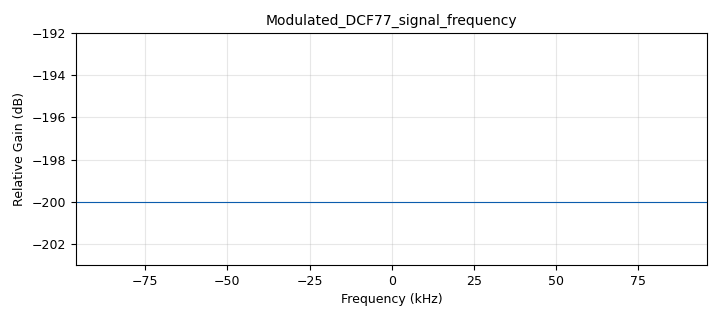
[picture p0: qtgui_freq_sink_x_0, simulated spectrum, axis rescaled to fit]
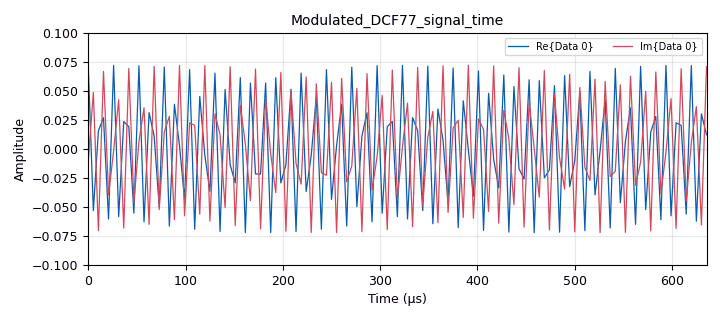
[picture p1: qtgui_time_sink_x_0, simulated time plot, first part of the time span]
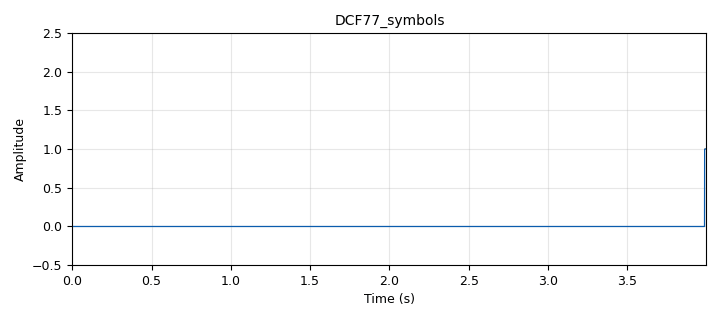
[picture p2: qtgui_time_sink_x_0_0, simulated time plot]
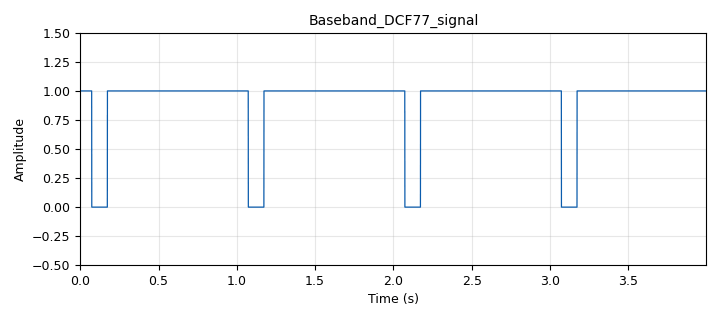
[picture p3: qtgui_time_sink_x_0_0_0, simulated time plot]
options:
  parameters:
    author: henningM1R
    generate_options: qt_gui
    id: DCF77_Transmitter
    output_language: python
    title: DCF77 Transmitter
  states: {}

blocks:
- name: freq_DCF77
  id: variable
  parameters:
    value: '77500'
  states: {}
- name: gain
  id: variable_qtgui_range
  parameters:
    gui_hint: (0,0)
    label: Gain
    start: '0.01'
    step: '0.01'
    stop: '3'
    value: '0.072'
  states: {}
- name: samp_rate
  id: variable
  parameters:
    value: int(192000)
  states: {}
- name: analog_const_source_x_0
  id: analog_const_source_x
  parameters:
    const: '0'
    type: float
  states: {}
- name: analog_sig_source_x_2
  id: analog_sig_source_x
  parameters:
    amp: '1'
    comment: |-
      modulation signal to shift the
      pass band signal to 77.5 kHz
    freq: freq_DCF77
    offset: '0'
    phase: '0'
    samp_rate: samp_rate
    type: complex
    waveform: analog.GR_COS_WAVE
  states: {}
- name: blocks_add_xx_0
  id: blocks_add_xx
  parameters:
    type: float
  states: {}
- name: blocks_char_to_float_0
  id: blocks_char_to_float
  parameters:
    comment: |-
      converts byte values
      to float value
    scale: '1'
  states: {}
- name: blocks_float_to_complex_0
  id: blocks_float_to_complex
  parameters: {}
  states: {}
- name: blocks_multiply_const_xx_0
  id: blocks_multiply_const_xx
  parameters:
    const: gain
    type: float
  states: {}
- name: blocks_multiply_xx_0
  id: blocks_multiply_xx
  parameters:
    type: complex
  states: {}
- name: blocks_repeat_0
  id: blocks_repeat
  parameters:
    comment: |-
      each bit streches a number
      of "samp_rate" samples,
      i.e. fill one full second
    interp: samp_rate
    type: float
  states: {}
- name: blocks_tags_strobe_0_0_1
  id: blocks_tags_strobe
  parameters:
    comment: set a tag each second
    key: pmt.intern("Second")
    nsamps: samp_rate
    type: float
    value: pmt.intern("second")
  states: {}
- name: blocks_vector_source_x_0
  id: blocks_vector_source_x
  parameters:
    comment: |-
      test signal without a
      specific DCF77 encoding
    repeat: 'True'
    type: byte
    vector: (1,1,1,1,1,0,0,0,0,0,0,1,1,1,1,1,0,0,0,0,0)
  states: {state: disabled}
- name: blocks_vector_source_x_0_0
  id: blocks_vector_source_x
  parameters:
    comment: |-
      example DCF77 encoded
      bit-stream (with random
      weather data bits)
      full length: must be 60 elements,
      the last element must be a 2
    repeat: 'True'
    type: byte
    vector: (0,0,1,1,1,0,0,0,0,0,0,0,0,1,1,0,0,0,1,0,1,1,0,1,0,1,0,1,0,1,1,1,0,1,0,0,1,0,0,0,1,0,0,1,1,1,1,0,0,0,1,1,0,0,0,1,0,0,1,2)
  states: {}
- name: epy_block_0
  id: epy_block
  parameters:
    _source_code: "\nimport numpy as np\nfrom gnuradio import gr\nimport pmt\n\n\n\"\"\"\nEmbedded Python Blocks:\n\nEach time this file is saved, GRC will instantiate the first class it finds\nto get ports and parameters of your block. The arguments to __init__  will\nbe the parameters. All of them are required to have default values!\n\"\"\"\n\n# counted number of zero samples\n_num_zeros = 0\n\n# counted number of one samples\n_num_ones = 0\n\n# counted number of two samples\n_num_twos = 0\n\n# counted number of seconds\n_num_secs = 0\n\n\nclass blk(gr.sync_block):\n\n    def __init__(self, scaling=1, samp_rate=768000):\n        \"\"\"arguments to this function show up as parameters in GRC\"\"\"\n        gr.sync_block.__init__(\n            self,\n            name='DCF77-Signalling',\n            in_sig=[np.float32],\n            out_sig=[np.float32]\n        )\n\n        # block parameters\n        self.scaling = scaling\n        self.sample_rate = samp_rate\n\n        # messaging port\n        self.message_port_register_out(pmt.intern('msg_out'))\n\n        # 0.1s of zeros for the zero-bit (100ms pause)\n        self._zero = int(self.sample_rate/self.scaling*0.1)\n\n        # 0.9s of ones for the zero-bit\n        self._zero_compl = int(self.sample_rate/self.scaling*0.9)\n\n        # 0.2s of zeros for the one-bit (200ms pause)\n        self._one = int(self.sample_rate/self.scaling*0.2)\n\n        # 0.8s of ones for the one-bit\n        self._one_compl = int(self.sample_rate/self.scaling*0.8)\n\n        # 1.9s of ones for the zero-bit at position 58 (with prolonged ones)\n        self._reinit_zero = int(self.sample_rate/self.scaling*1.9)\n\n        # 1.8s of ones for the one-bit at position 58 (with prolonged ones)\n        self._reinit_one = int(self.sample_rate/self.scaling*1.8)\n\n        print(\"zero:\", self._zero)\n        print(\"zero_compl:\", self._zero_compl)\n        print(\"one:\", self._one)\n        print(\"one_compl:\", self._one_compl)\n        print(\"reinit_zero:\", self._reinit_zero)\n        print(\"reinit_one:\", self._reinit_one)\n\n    def work(self, input_items, output_items):\n        inp = input_items[0]\n        out = output_items[0]\n\n        # tags = self.get_tags_in_window(0, 0, len(inp))\n\n        out[:] = self.bits_to_base_band_signal(inp)\n\n        # forward input tagged signal\n        return len(output_items[0])\n\n    def bits_to_base_band_signal(self, inp):\n        global _num_zeros\n        global _num_ones\n        global _num_twos\n        global _num_secs\n\n        # The total number of samples does not change from input to output\n        # just the value might change\n        out = inp\n\n        # tags = self.get_tags_in_window(0, 0, len(inp))\n\n        # Process the individual (finite length) stream block currently\n        # received. Either a frame (sample_rate) full of ones, or a frame\n        # full of zeros is received.\n        for idx, ch in enumerate(inp):\n            # 1 is default, especially for the 59th second\n            out[idx] = 1\n\n            if _num_secs > 59:\n                _num_secs = 0\n\n            # receiving frame of zeros\n            if (ch == 0):\n                _num_zeros += 1\n                _num_ones = 0\n                _num_twos = 0\n\n                # if the number of zeros is below 0.1s of the frame\n                if (_num_zeros < self._zero and\n                        _num_secs < 59):\n                    # set the output to \"1\" for the current sample\n                    out[idx] = 0\n\n                # if the number of zeros is equal 0.1s of the frame\n                elif (_num_zeros == self._zero and\n                      _num_secs < 59):\n                    # set output to \"0\" for the current sample\n                    out[idx] = 0\n\n                    # set tag for this 100ms pause\n                    key = pmt.intern(\"0\")\n                    value = pmt.intern(\"100ms\")\n                    self.add_item_tag(0,\n                                      self.nitems_written(0) + idx,\n                                      key,\n                                      value)\n\n                # if the number of zeros is above 0.1s of the frame\n                elif (_num_zeros > self._zero and\n                      _num_secs < 59):\n                    # set output to \"1\" for the current sample\n                    out[idx] = 1\n\n                # full second from a full frame of zeros\n                if _num_zeros >= self.sample_rate:\n                    _num_zeros = 0\n                    _num_ones = 0\n                    _num_twos = 0\n                    _num_secs += 1\n\n                    if _num_secs < 59:\n                        # set tag for full second\n                        key = pmt.intern(\"sec\")\n                        value = pmt.intern(\"0\")\n                        self.add_item_tag(0,\n                                          self.nitems_written(0) + idx,\n                                          key,\n                                          value)\n\n                    print(f\"{_num_secs:02d}: 0\")\n\n            # receiving frame of ones\n            elif (ch == 1):\n                _num_ones += 1\n                _num_zeros = 0\n                _num_twos = 0\n\n                # if the number of ones is below 0.2s of the frame\n                if (_num_ones < self._one and\n                        _num_secs < 59):\n                    # set the output to \"0\" for the current sample\n                    out[idx] = 0\n\n                # if the number of ones is equal 0.2s of the frame\n                elif (_num_ones == self._one and\n                      _num_secs < 59):\n                    # set output to \"0\" for the current sample\n                    out[idx] = 0\n                    # set tag for this 200ms pause\n                    key = pmt.intern(\"1\")\n                    value = pmt.intern(\"200ms\")\n                    self.add_item_tag(0,\n                                      self.nitems_written(0) + idx,\n                                      key,\n                                      value)\n\n                # if the number of ones is above 0.2s of the frame\n                elif (_num_ones > self._one and _num_secs < 59):\n                    # set output to \"1\" for the current sample\n                    out[idx] = 1\n\n                # full second from a full frame of ones\n                if _num_ones >= self.sample_rate:\n                    _num_ones = 0\n                    _num_zeros = 0\n                    _num_twos = 0\n                    _num_secs += 1\n\n                    if _num_secs < 59:\n                        # set tag for full second\n                        key = pmt.intern(\"sec\")\n                        value = pmt.intern(\"1\")\n                        self.add_item_tag(0,\n                                          self.nitems_written(0) + idx,\n                                          key,\n                                          value)\n\n                    print(f\"{_num_secs:02d}: 1\")\n\n            # receiving frame of twos (=> 59th second)\n            elif (ch == 2):\n                _num_zeros = 0\n                _num_ones = 0\n\n                if _num_twos == 0:\n                    _num_secs += 1\n                    _num_twos += 1\n\n                    out[idx] = 1\n\n                    print(f\"{_num_secs:02d}: _\")\n\n                elif _num_twos >= 1 and _num_twos < self.sample_rate:\n                    _num_twos += 1\n\n                    out[idx] = 1\n\n                elif _num_twos >= self.sample_rate:\n                    _num_twos = 0\n\n                    out[idx] = 1\n\n        # return (float) signal block\n        return out\n"
    comment: |-
      * encode bits to signals
      * each bit has a total signal
         length of "samp_rate"
      * convert 0 to:
       100ms low (0) , 900ms high (1)
      * convert 1 to:
      200ms low (0),  800ms high (1)
      *convert 2 to:
      TBD
    samp_rate: samp_rate
    scaling: '1'
  states: {}
- name: import_0
  id: import
  parameters:
    comment: Windows needs the import of zmq
    imports: import zmq
  states: {}
- name: network_tcp_sink_0
  id: network_tcp_sink
  parameters:
    mode: '2'
    port: '55553'
    type: complex
  states: {}
- name: qtgui_freq_sink_x_0
  id: qtgui_freq_sink_x
  parameters:
    bw: samp_rate
    fc: '0'
    fftsize: '1024'
    gui_hint: (4,0)
    name: Modulated_DCF77_signal_frequency
    type: complex
  states: {}
- name: qtgui_time_sink_x_0
  id: qtgui_time_sink_x
  parameters:
    gui_hint: (3,0)
    name: Modulated_DCF77_signal_time
    size: samp_rate*4
    srate: samp_rate
    type: complex
    ymax: '0.1'
    ymin: '-0.1'
  states: {}
- name: qtgui_time_sink_x_0_0
  id: qtgui_time_sink_x
  parameters:
    gui_hint: (1,0)
    name: DCF77_symbols
    size: samp_rate*4
    srate: samp_rate
    type: float
    ymax: '2.5'
    ymin: '-0.5'
  states: {}
- name: qtgui_time_sink_x_0_0_0
  id: qtgui_time_sink_x
  parameters:
    gui_hint: (2,0)
    name: Baseband_DCF77_signal
    size: samp_rate*4
    srate: samp_rate
    type: float
    ymax: '1.5'
    ymin: '-0.5'
  states: {}
- name: zeromq_sub_source_0
  id: zeromq_sub_source
  parameters:
    address: tcp://127.0.0.1:55552
    comment: |-
      sends bits from DCF77 Encoder
      1 symbol per second
    timeout: '100'
    type: byte
  states: {state: disabled}

connections:
- [analog_const_source_x_0, '0', blocks_float_to_complex_0, '1']
- [analog_sig_source_x_2, '0', blocks_multiply_xx_0, '0']
- [blocks_add_xx_0, '0', qtgui_time_sink_x_0_0, '0']
- [blocks_char_to_float_0, '0', blocks_repeat_0, '0']
- [blocks_float_to_complex_0, '0', blocks_multiply_xx_0, '1']
- [blocks_multiply_const_xx_0, '0', blocks_float_to_complex_0, '0']
- [blocks_multiply_xx_0, '0', network_tcp_sink_0, '0']
- [blocks_multiply_xx_0, '0', qtgui_freq_sink_x_0, '0']
- [blocks_multiply_xx_0, '0', qtgui_time_sink_x_0, '0']
- [blocks_repeat_0, '0', blocks_add_xx_0, '1']
- [blocks_repeat_0, '0', epy_block_0, '0']
- [blocks_tags_strobe_0_0_1, '0', blocks_add_xx_0, '0']
- [blocks_vector_source_x_0, '0', blocks_char_to_float_0, '0']
- [blocks_vector_source_x_0_0, '0', blocks_char_to_float_0, '0']
- [epy_block_0, '0', blocks_multiply_const_xx_0, '0']
- [epy_block_0, '0', qtgui_time_sink_x_0_0_0, '0']
- [zeromq_sub_source_0, '0', blocks_char_to_float_0, '0']

metadata:
  file_format: 1
